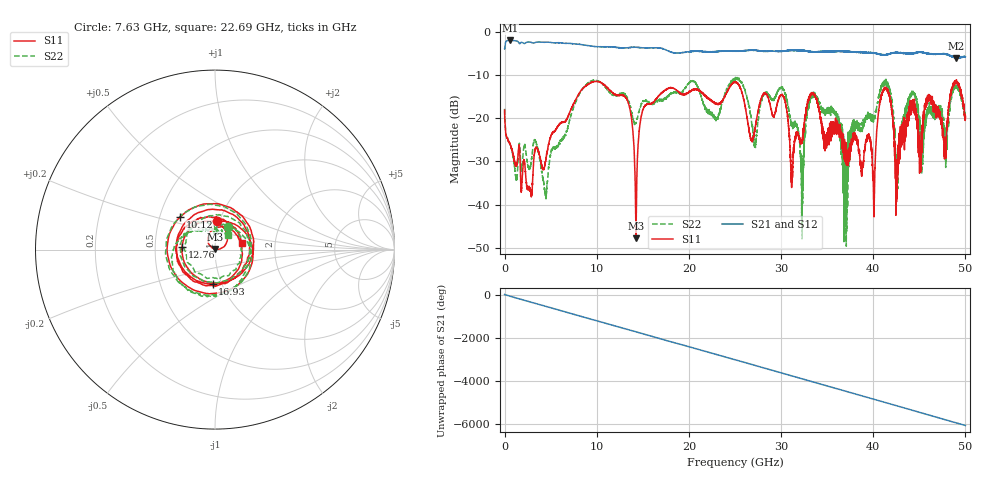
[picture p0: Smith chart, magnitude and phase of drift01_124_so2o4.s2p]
!Created with skrf (http://scikit-rf.org).
# Hz S RI R 50.0
!freq ReS11 ImS11 ReS21 ImS21 ReS12 ImS12 ReS22 ImS22
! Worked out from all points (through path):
!   10001 points, 300 kHz to 50 GHz, reference 50 ohm
!   highest |S21| = -2.00 dB at 575.3 MHz (marker M1); lowest = -6.0 dB at 48.98 GHz (marker M2)
!   group delay of S21, straight-line fit = 336 ps
!   lowest |S11| = -47.7 dB at 14.26 GHz (marker M3), VSWR 1.01, Z = 50 + j0.41 ohm
!   |S11| at or under -10 dB: start of sweep to end of sweep
!   |S22| runs from -49.6 to -10.5 dB; largest |S21 - S12| = 0.025
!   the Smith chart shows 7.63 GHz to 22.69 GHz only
!   S11 on the Smith chart (normalised r, x): 7.63 GHz: 0.97, +0.31; 10.12 GHz: 0.64, +0.25; 12.76 GHz: 0.69, +0.02; 16.93 GHz: 0.91, -0.36; 22.69 GHz: 1.34, +0.09
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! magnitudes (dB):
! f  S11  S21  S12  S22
! 300 kHz  -18.1  -4.0  -4.0  -17.8
! 575.3 MHz  -26.0  -2.0  -2.0  -25.9
! 4.445 GHz  -29.9  -2.4  -2.4  -37.8
! 7.63 GHz  -16.0  -2.8  -2.8  -16.7
! 8.335 GHz  -13.5  -3.0  -3.0  -13.5
! 10.12 GHz  -11.5  -3.4  -3.4  -11.4
! 12.76 GHz  -14.7  -3.7  -3.7  -14.3
! 14.26 GHz  -47.7  -3.6  -3.6  -21.1
! 16.67 GHz  -14.9  -3.7  -3.7  -15.8
! 16.93 GHz  -14.4  -3.8  -3.8  -15.9
! 22.69 GHz  -16.3  -4.7  -4.6  -19.5
! 25 GHz  -11.6  -4.5  -4.5  -10.9
! 27.15 GHz  -22.5  -4.2  -4.3  -26.0
! 30.22 GHz  -14.8  -4.5  -4.5  -13.3
! 32.27 GHz  -25.5  -4.4  -4.3  -43.7
! 33.34 GHz  -14.2  -4.6  -4.6  -14.8
! 37.01 GHz  -26.4  -4.5  -4.6  -30.5
! 40.06 GHz  -40.6  -4.9  -4.9  -20.1
! 41.67 GHz  -13.9  -5.1  -5.1  -12.7
! 42.59 GHz  -36.3  -4.8  -4.8  -31.3
! 48.98 GHz  -11.4  -6.0  -6.0  -12.6
! 50 GHz  -19.5  -5.8  -5.8  -19.7
